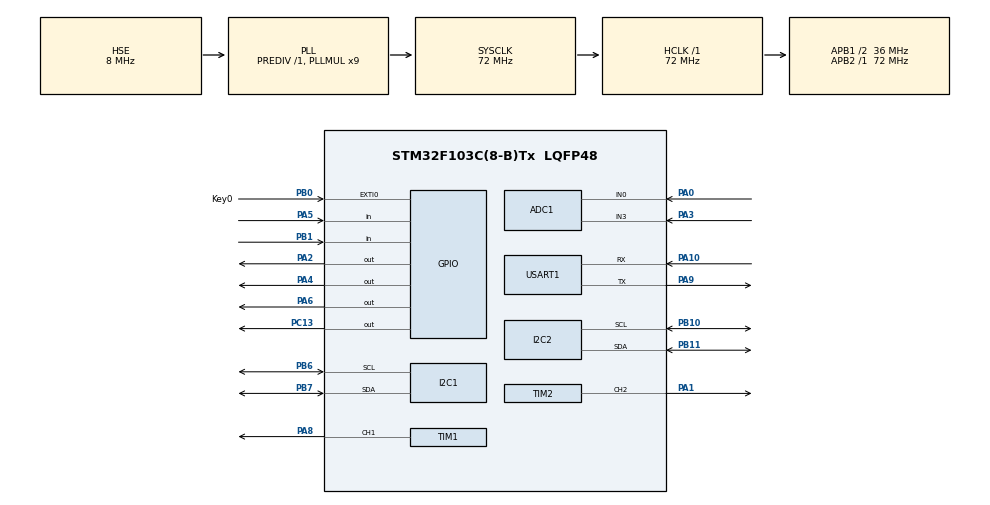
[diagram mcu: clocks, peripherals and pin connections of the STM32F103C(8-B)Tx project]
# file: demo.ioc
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ADC1.Channel-0\#ChannelRegularConversion=ADC_CHANNEL_0
ADC1.NbrOfConversionFlag=1
ADC1.Rank-0\#ChannelRegularConversion=1
ADC1.SamplingTime-0\#ChannelRegularConversion=ADC_SAMPLETIME_1CYCLE_5
ADC1.master=1
FREERTOS.Tasks01=defaultTask,24,128,StartDefaultTask,Default,NULL,Dynamic,NULL,NULL
FREERTOS.configTOTAL_HEAP_SIZE=4000
Mcu.Family=STM32F1
Mcu.Name=STM32F103C(8-B)Tx
Mcu.Package=LQFP48
NVIC.PriorityGroup=NVIC_PRIORITYGROUP_4
NVIC.TIM2_IRQn=true\:5\:0\:false\:false\:true\:true\:true\:true\:true
NVIC.TIM4_IRQn=true\:15\:0\:false\:false\:true\:false\:false\:true\:true
NVIC.TimeBase=TIM4_IRQn
NVIC.TimeBaseIP=TIM4
NVIC.USART1_IRQn=true\:5\:0\:false\:false\:true\:true\:true\:true\:true
PA0-WKUP.Signal=ADCx_IN0
PA1.Signal=S_TIM2_CH2
PA10.Mode=Asynchronous
PA10.Signal=USART1_RX
PA13.Mode=Serial_Wire
PA13.Signal=SYS_JTMS-SWDIO
PA14.Mode=Serial_Wire
PA14.Signal=SYS_JTCK-SWCLK
PA2.GPIO_ModeDefaultOutputPP=GPIO_MODE_OUTPUT_PP
PA2.PinState=GPIO_PIN_SET
PA2.Signal=GPIO_Output
PA3.Signal=ADCx_IN3
PA4.GPIO_ModeDefaultOutputPP=GPIO_MODE_OUTPUT_PP
PA4.Signal=GPIO_Output
PA5.Signal=GPIO_Input
PA6.GPIO_ModeDefaultOutputPP=GPIO_MODE_OUTPUT_OD
PA6.GPIO_PuPd=GPIO_PULLUP
PA6.Signal=GPIO_Output
PA8.Signal=S_TIM1_CH1
PA9.Mode=Asynchronous
PA9.Signal=USART1_TX
PB0.GPIO_Label=Key0
PB0.GPIO_PuPd=GPIO_PULLUP
PB0.Signal=GPXTI0
PB1.GPIO_PuPd=GPIO_PULLUP
PB1.Signal=GPIO_Input
PB10.Mode=I2C
PB10.Signal=I2C2_SCL
PB11.Mode=I2C
PB11.Signal=I2C2_SDA
PB6.Mode=I2C
PB6.Signal=I2C1_SCL
PB7.Mode=I2C
PB7.Signal=I2C1_SDA
PC13-TAMPER-RTC.GPIO_ModeDefaultOutputPP=GPIO_MODE_OUTPUT_PP
PC13-TAMPER-RTC.PinState=GPIO_PIN_RESET
PC13-TAMPER-RTC.Signal=GPIO_Output
PD0-OSC_IN.Mode=HSE-External-Oscillator
PD0-OSC_IN.Signal=RCC_OSC_IN
PD1-OSC_OUT.Mode=HSE-External-Oscillator
PD1-OSC_OUT.Signal=RCC_OSC_OUT
ProjectManager.HeapSize=0x200
ProjectManager.StackSize=0x400
ProjectManager.TargetToolchain=MDK-ARM V5.32
RCC.AHBFreq_Value=72000000
RCC.APB1CLKDivider=RCC_HCLK_DIV2
RCC.APB1Freq_Value=36000000
RCC.APB1TimFreq_Value=72000000
RCC.APB2Freq_Value=72000000
RCC.APB2TimFreq_Value=72000000
RCC.HCLKFreq_Value=72000000
RCC.PLLMUL=RCC_PLL_MUL9
RCC.PLLSourceVirtual=RCC_PLLSOURCE_HSE
RCC.SYSCLKFreq_VALUE=72000000
RCC.SYSCLKSource=RCC_SYSCLKSOURCE_PLLCLK
RCC.USBFreq_Value=72000000
SH.ADCx_IN0.0=ADC1_IN0,IN0
SH.ADCx_IN3.0=ADC1_IN3,IN3
SH.S_TIM1_CH1.0=TIM1_CH1,PWM Generation1 CH1
SH.S_TIM2_CH2.0=TIM2_CH2,PWM Generation2 CH2
TIM1.AutoReloadPreload=TIM_AUTORELOAD_PRELOAD_ENABLE
TIM1.Channel-PWM\ Generation1\ CH1=TIM_CHANNEL_1
TIM1.Period=999
TIM1.Prescaler=71
TIM1.Pulse-PWM\ Generation1\ CH1=499
TIM2.Channel-PWM\ Generation2\ CH2=TIM_CHANNEL_2
TIM2.OCPolarity_2=TIM_OCPOLARITY_LOW
TIM2.Period=100-1
TIM2.Prescaler=720-1
USART1.VirtualMode=VM_ASYNC
VP_FREERTOS_VS_CMSIS_V2.Mode=CMSIS_V2
VP_SYS_VS_tim4.Mode=TIM4
VP_TIM1_VS_ClockSourceINT.Mode=Internal
VP_TIM2_VS_ClockSourceINT.Mode=Internal
board=custom

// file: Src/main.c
/* USER CODE BEGIN Header */
/**
  ******************************************************************************
  * @file           : main.c
  * @brief          : Main program body
  ******************************************************************************
  * @attention
  *
  * Copyright (c) 2024 STMicroelectronics.
  * All rights reserved.
  *
  * This software is licensed under terms that can be found in the LICENSE file
  * in the root directory of this software component.
  * If no LICENSE file comes with this software, it is provided AS-IS.
  *
  **********************************************]********************************
  */
/* USER CODE END Header */
#include "main.h"
#include "cmsis_os.h"
#include "adc.h"
#include "i2c.h"
#include "tim.h"
#include "usart.h"
#include "gpio.h"

/* USER CODE BEGIN PTD */

#define RXBUFFERSIZE 256
char RxBuffer[RXBUFFERSIZE];

/* USER CODE END PTD */

void SystemClock_Config(void);
void MX_FREERTOS_Init(void);

int main(void)
{

  /* MCU Configuration--------------------------------------------------------*/

  /* Reset of all peripherals, Initializes the Flash interface and the Systick. */
  HAL_Init();

  /* Configure the system clock */
  SystemClock_Config();

  /* Initialize all configured peripherals */
  MX_GPIO_Init();
  MX_I2C1_Init();
  MX_ADC1_Init();
  MX_USART1_UART_Init();
  MX_TIM2_Init();
  MX_TIM1_Init();
  MX_I2C2_Init();

  /* Init scheduler */
  osKernelInitialize();

  /* Call init function for freertos objects (in cmsis_os2.c) */
  MX_FREERTOS_Init();

  /* Start scheduler */
  osKernelStart();

  /* We should never get here as control is now taken by the scheduler */

  /* Infinite loop */
  while (1)
  {

  }
}

void SystemClock_Config(void)
{
  RCC_OscInitTypeDef RCC_OscInitStruct = {0};
  RCC_ClkInitTypeDef RCC_ClkInitStruct = {0};
  RCC_PeriphCLKInitTypeDef PeriphClkInit = {0};

  /** Initializes the RCC Oscillators according to the specified parameters
  * in the RCC_OscInitTypeDef structure.
  */
  RCC_OscInitStruct.OscillatorType = RCC_OSCILLATORTYPE_HSE;
  RCC_OscInitStruct.HSEState = RCC_HSE_ON;
  RCC_OscInitStruct.HSEPredivValue = RCC_HSE_PREDIV_DIV1;
  RCC_OscInitStruct.HSIState = RCC_HSI_ON;
  RCC_OscInitStruct.PLL.PLLState = RCC_PLL_ON;
  RCC_OscInitStruct.PLL.PLLSource = RCC_PLLSOURCE_HSE;
  RCC_OscInitStruct.PLL.PLLMUL = RCC_PLL_MUL9;
  if (HAL_RCC_OscConfig(&RCC_OscInitStruct) != HAL_OK)
  {
    Error_Handler();
  }

  /** Initializes the CPU, AHB and APB buses clocks
  */
  RCC_ClkInitStruct.ClockType = RCC_CLOCKTYPE_HCLK|RCC_CLOCKTYPE_SYSCLK
                              |RCC_CLOCKTYPE_PCLK1|RCC_CLOCKTYPE_PCLK2;
  RCC_ClkInitStruct.SYSCLKSource = RCC_SYSCLKSOURCE_PLLCLK;
  RCC_ClkInitStruct.AHBCLKDivider = RCC_SYSCLK_DIV1;
  RCC_ClkInitStruct.APB1CLKDivider = RCC_HCLK_DIV2;
  RCC_ClkInitStruct.APB2CLKDivider = RCC_HCLK_DIV1;

  if (HAL_RCC_ClockConfig(&RCC_ClkInitStruct, FLASH_LATENCY_2) != HAL_OK)
  {
    Error_Handler();
  }
  PeriphClkInit.PeriphClockSelection = RCC_PERIPHCLK_ADC;
  PeriphClkInit.AdcClockSelection = RCC_ADCPCLK2_DIV2;
  if (HAL_RCCEx_PeriphCLKConfig(&PeriphClkInit) != HAL_OK)
  {
    Error_Handler();
  }
}

void HAL_TIM_PeriodElapsedCallback(TIM_HandleTypeDef *htim)
{
  if (htim->Instance == TIM4) {
    HAL_IncTick();
  }
}

void Error_Handler(void)
{
  __disable_irq();
  while (1)
  {
  }
}

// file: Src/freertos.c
/* USER CODE BEGIN Header */
/**
  ******************************************************************************
  * File Name          : freertos.c
  * Description        : Code for freertos applications
  ******************************************************************************
  * @attention
  *
  * Copyright (c) 2024 STMicroelectronics.
  * All rights reserved.
  *
  * This software is licensed under terms that can be found in the LICENSE file
  * in the root directory of this software component.
  * If no LICENSE file comes with this software, it is provided AS-IS.
  *
  ******************************************************************************
  */
/* USER CODE END Header */

#include "FreeRTOS.h"
#include "task.h"
#include "main.h"
#include "cmsis_os.h"

/* USER CODE BEGIN Includes */
#include "driver_key.h"
#include "driver_led.h"
#include "driver_oled.h"
#include "driver_timer.h"
#include "driver_lcd.h"
#include "driver_light_sensor.h"
#include "driver_dht11.h"
#include "driver_passive_buzzer.h"
#include "driver_active_buzzer.h"
#include "MyMax30102.h"

#include "MyTask.h"
#include "Data.h"
#include "ShowMenu.h"

/* USER CODE END Includes */

/* USER CODE BEGIN Variables */

static BaseType_t keyTestRet;
static BaseType_t keyDealRet;
static BaseType_t lightSensorRet;
static BaseType_t dhtRet;
static BaseType_t createTaskRet;

static TaskHandle_t  xKeyDealHandle = NULL;

TimerHandle_t g_Timer;
TimerHandle_t g_Clock_Timer;

TaskHandle_t xRootTaskHandle = NULL;

TaskHandle_t xShowTimeTaskHandle = NULL;
TaskHandle_t xShowMenuTaskHandle = NULL;
TaskHandle_t xShowCalendarTaskHandle = NULL;
TaskHandle_t xShowClockTaskHandle = NULL;
TaskHandle_t xShowFlashLightTaskHandle = NULL;
TaskHandle_t xShowSettingTaskHandle = NULL;
TaskHandle_t xShowWoodenFishTaskHandle = NULL;
TaskHandle_t xShowDHT11TaskHandle = NULL;
TaskHandle_t xShowHRSPO2TaskHandle = NULL;

QueueHandle_t g_xQueueMenu;
uint16_t key1_filter = 0;
uint16_t key2_filter = 0;
uint16_t key3_filter = 0;
uint16_t key4_filter = 0;

/* USER CODE END Variables */
/* Definitions for defaultTask */
osThreadId_t defaultTaskHandle;
const osThreadAttr_t defaultTask_attributes = {
  .name = "defaultTask",
  .stack_size = 128 * 4,
  .priority = (osPriority_t) osPriorityNormal,
};

/* USER CODE BEGIN FunctionPrototypes */

TaskHandle_t GetKeyDealHandle(void);

/* USER CODE END FunctionPrototypes */

void StartDefaultTask(void *argument);

void MX_FREERTOS_Init(void); /* (MISRA C 2004 rule 8.1) */

void MX_FREERTOS_Init(void) {
  /* USER CODE BEGIN Init */
	LCD_Init();
	LCD_Clear();
  /* USER CODE END Init */

  /* Create the thread(s) */
  /* creation of defaultTask */
  defaultTaskHandle = osThreadNew(StartDefaultTask, NULL, &defaultTask_attributes);

  /* USER CODE BEGIN RTOS_THREADS */
  /* add threads, ... */

	createTaskRet = xTaskCreate(MyTask_CreateTask, "CreateTask", 128, NULL, osPriorityNormal1, NULL);

	xTaskCreate(ShowMenuTask, "ShowMenuTask", 256, NULL, osPriorityNormal, &xShowMenuTaskHandle);

  /* USER CODE END RTOS_THREADS */

}

void StartDefaultTask(void *argument)
{
  /* USER CODE BEGIN StartDefaultTask */
  /* Infinite loop */
	LCD_Init();
	LCD_Clear();

	for(;;)
	{
		//osDelay(1);
		//Led_Test();
		//LCD_Test();
		//HAL_Delay(200);
		//Key_Test();
		//LightSensor_Test();
		//DHT11_Test();
		//PassiveBuzzer_Test();
		//ActiveBuzzer_Test();
//		printf("hello!\r\n");
//		HAL_Delay(500);
//		Max30102_Test();

		osDelay(20);

		//vTaskDelete(defaultTaskHandle);
	}

  /* USER CODE END StartDefaultTask */
}

/* USER CODE BEGIN Application */

void HAL_GPIO_EXTI_Callback(uint16_t GPIO_Pin)
{
	/* key interrupt : send data to queue */

	/* some data maybe useless */
	extern BaseType_t end_flag;
	extern BaseType_t seclect_end;
	BaseType_t  RM_Flag, LM_Flag, EN_Flag, EX_Flag;
	Key_data key_data;

    if(GPIO_Pin == GPIO_PIN_11)
	{
		for(int i = 0; i<5000; i++){}
		if(end_flag == 1&&seclect_end == 0)
		{
			RM_Flag = 1;
			key_data.rdata = RM_Flag;
			xQueueSendToBackFromISR(g_xQueueMenu, &key_data, NULL);
			HAL_GPIO_WritePin(GPIOC, GPIO_PIN_13, GPIO_PIN_RESET);
			RM_Flag = 0;
		}
	}
	if(GPIO_Pin == GPIO_PIN_10)
	{
		for(int i = 0; i<5000; i++){}
		if(end_flag == 1&&seclect_end == 0)
		{
		 	LM_Flag = 1;
			key_data.ldata = LM_Flag;
			xQueueSendToBackFromISR(g_xQueueMenu, &key_data, NULL);
			HAL_GPIO_WritePin(GPIOC, GPIO_PIN_13, GPIO_PIN_RESET);
			LM_Flag = 0;
		}
	}
	if(GPIO_Pin == GPIO_PIN_1)
	{
		for(int i = 0; i<5000; i++){}
		if(end_flag == 1&&seclect_end == 0)
		{
			EN_Flag = 1;
			key_data.updata = EN_Flag;
			xQueueSendToBackFromISR(g_xQueueMenu, &key_data, NULL);
			HAL_GPIO_WritePin(GPIOC, GPIO_PIN_13, GPIO_PIN_RESET);
			EN_Flag = 0;
		}
	}
	if(GPIO_Pin == GPIO_PIN_0)
	{
		for(int i = 0; i<5000; i++){}
		if(end_flag == 1&&seclect_end == 0)
		{
			EX_Flag = 1;
			key_data.exdata = EX_Flag;
			if(end_flag == 1&&seclect_end == 0)xQueueSendToBackFromISR(g_xQueueMenu, &key_data, NULL);
			HAL_GPIO_WritePin(GPIOC, GPIO_PIN_13, GPIO_PIN_RESET);
			EX_Flag = 0;
		}
	}
}

/* USER CODE END Application */
